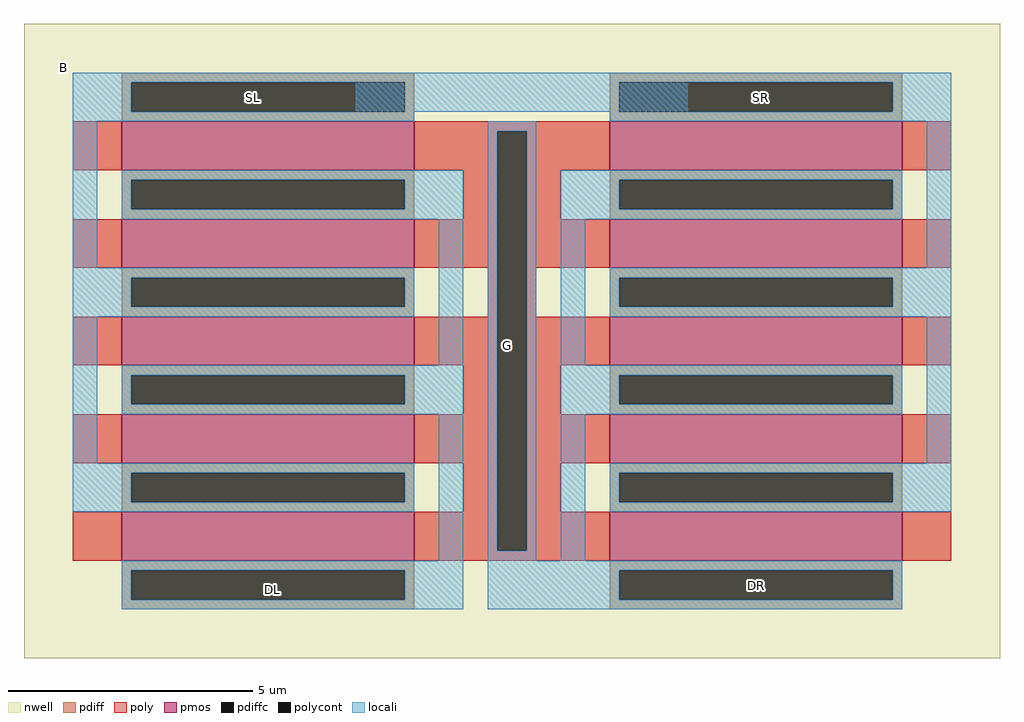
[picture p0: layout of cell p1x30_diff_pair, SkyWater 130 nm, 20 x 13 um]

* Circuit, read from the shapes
.subckt p1x30_diff_pair DL DR G SL SR B
XM1 p1x30_0/S p1x30_1/D p1x30_0/D p1x30_0/B sky130_fd_pr__pfet_01v8 w=6 l=1 m=5
XM2 p1x30_0/S p1x30_1/D p1x30_1/D p1x30_0/B sky130_fd_pr__pfet_01v8 w=6 l=1 m=5
.ends

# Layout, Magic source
magic
tech sky130A
<< nwell >>
rect 120 80 800 160
rect 390 -940 610 -840
<< locali >>
rect 120 80 800 160
rect 390 -940 610 -840
use p1x30  p1x30_0
transform -1 0 40 0 -1 -740
box -500 -1000 600 300
use p1x30  p1x30_1
transform 1 0 840 0 -1 -740
box -500 -1000 600 300
<< labels >>
flabel space -50 -900 -50 -900 0 FreeSans 800 0 0 0 DL
port 0 nsew
flabel space 940 -890 940 -890 0 FreeSans 800 0 0 0 DR
port 1 nsew
flabel space 430 -400 430 -400 0 FreeSans 800 0 0 0 G
port 2 nsew
flabel space -90 110 -90 110 0 FreeSans 800 0 0 0 SL
port 3 nsew
flabel space 950 110 950 110 0 FreeSans 800 0 0 0 SR
port 4 nsew
flabel space -480 170 -480 170 0 FreeSans 800 0 0 0 B
port 5 nsew
<< end >>

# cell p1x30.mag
magic
tech sky130A
<< nwell >>
rect -500 -1000 600 300
<< pmos >>
rect -200 0 400 100
rect -200 -200 400 -100
rect -200 -400 400 -300
rect -200 -600 400 -500
rect -200 -800 400 -700
<< pdiff >>
rect -200 180 400 200
rect -200 120 -180 180
rect 380 120 400 180
rect -200 100 400 120
rect -200 -20 400 0
rect -200 -80 -180 -20
rect 380 -80 400 -20
rect -200 -100 400 -80
rect -200 -220 400 -200
rect -200 -280 -180 -220
rect 380 -280 400 -220
rect -200 -300 400 -280
rect -200 -420 400 -400
rect -200 -480 -180 -420
rect 380 -480 400 -420
rect -200 -500 400 -480
rect -200 -620 400 -600
rect -200 -680 -180 -620
rect 380 -680 400 -620
rect -200 -700 400 -680
rect -200 -820 400 -800
rect -200 -880 -180 -820
rect 380 -880 400 -820
rect -200 -900 400 -880
<< pdiffc >>
rect -180 120 380 180
rect -180 -80 380 -20
rect -180 -280 380 -220
rect -180 -480 380 -420
rect -180 -680 380 -620
rect -180 -880 380 -820
<< poly >>
rect -450 80 -200 100
rect -450 -780 -430 80
rect -370 0 -200 80
rect 400 0 500 100
rect -370 -100 -300 0
rect -370 -200 -200 -100
rect 400 -200 500 -100
rect -370 -300 -300 -200
rect -370 -400 -200 -300
rect 400 -400 500 -300
rect -370 -500 -350 -400
rect -370 -600 -200 -500
rect 400 -600 500 -500
rect -370 -700 -300 -600
rect -370 -780 -200 -700
rect -450 -800 -200 -780
rect 400 -800 500 -700
<< polycont >>
rect -430 -780 -370 80
<< locali >>
rect -300 180 400 200
rect -300 120 -180 180
rect 380 120 400 180
rect -300 100 400 120
rect -450 80 -350 100
rect -450 -780 -430 80
rect -370 -780 -350 80
rect -300 -200 -250 100
rect -200 -20 500 0
rect -200 -80 -180 -20
rect 380 -80 500 -20
rect -200 -100 500 -80
rect -300 -220 400 -200
rect -300 -280 -180 -220
rect 380 -280 400 -220
rect -300 -300 400 -280
rect -300 -600 -250 -300
rect 450 -400 500 -100
rect -200 -420 500 -400
rect -200 -480 -180 -420
rect 380 -480 500 -420
rect -200 -500 500 -480
rect -300 -620 400 -600
rect -300 -680 -180 -620
rect 380 -680 400 -620
rect -300 -700 400 -680
rect -450 -800 -350 -780
rect 450 -800 500 -500
rect -200 -820 500 -800
rect -200 -880 -180 -820
rect 380 -880 500 -820
rect -200 -900 500 -880
<< labels >>
flabel pdiffc 90 150 90 150 0 FreeSans 800 0 0 0 D
port 0 nsew
flabel polycont -400 -350 -400 -350 0 FreeSans 800 0 0 0 G
port 1 nsew
flabel pdiffc 110 -850 110 -850 0 FreeSans 800 0 0 0 S
port 2 nsew
flabel nwell -400 210 -400 210 0 FreeSans 800 0 0 0 B
port 3 nsew
<< end >>
